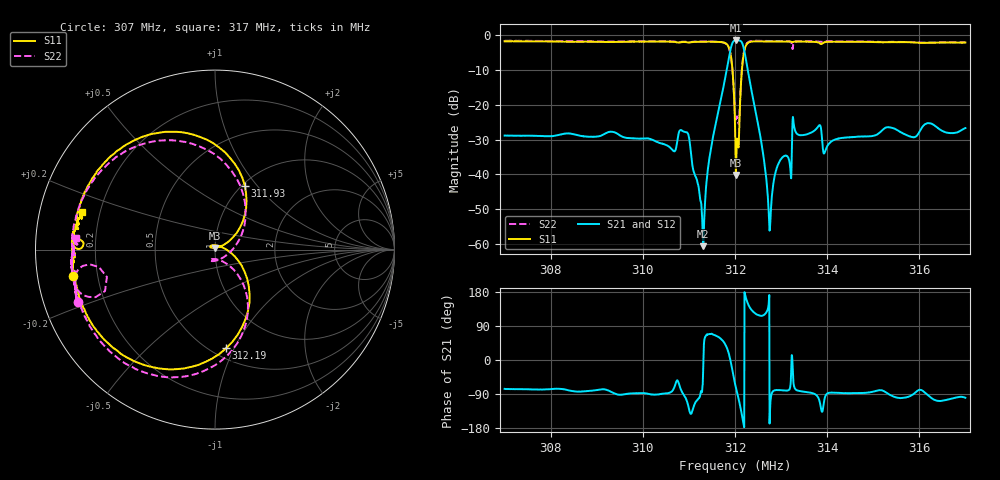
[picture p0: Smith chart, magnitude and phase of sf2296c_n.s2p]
# Hz S RI R 50
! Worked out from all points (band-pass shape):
!   1601 points, 307 MHz to 317 MHz, reference 50 ohm
!   highest |S21| = -1.65 dB at 312.02 MHz (marker M1); lowest = -60.5 dB at 311.31 MHz (marker M2)
!   |S21| within 3 dB of the highest: 311.8954 MHz to 312.2026 MHz (307.3 kHz wide, 0.0985 % of centre)
!   lowest |S11| = -40.2 dB at 312.02 MHz (marker M3), VSWR 1.02, Z = 50 + j0.982 ohm
!   |S11| at or under -10 dB: 311.9448 MHz to 312.1502 MHz (205.4 kHz wide, 0.0658 % of centre)
!   |S22| runs from -25.6 to -1.7 dB; largest |S21 - S12| = 0.0055
!   S11 on the Smith chart (normalised r, x): 307 MHz: 0.11, -0.09; 311.93 MHz: 1.03, +0.87; 312.19 MHz: 0.59, -0.93; 317 MHz: 0.13, +0.14
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3.07e8  -0.7909 -0.1476  0.00861 -0.035  0.00855 -0.035  -0.7659 -0.2904
3.086688e8  -0.7908 -0.055  0.00416 -0.0352  0.00429 -0.0353  -0.7791 -0.2019
3.103375e8  -0.7931 0.0632  -0.000358 -0.0287  -0.00029 -0.0287  -0.8003 -0.0887
3.109562e8  -0.7652 0.1464  -0.0126 -0.0381  -0.0126 -0.038  -0.7893 -0.00236
3.113125e8  -0.7595 0.2288  0.000936 -0.000107  0.000917 -0.000102  -0.7937 0.0814
3.114625e8  -0.7367 0.2943  0.0074 0.0189  0.00749 0.0189  -0.7828 0.152
3.117312e8  -0.572 0.5274  0.097 0.1213  0.0974 0.1214  -0.6558 0.415
3.1185e8  -0.2169 0.6564  0.3739 0.1614  0.3738 0.1612  -0.3119 0.607
3.119312e8  0.1663 0.3565  0.6822 -0.2426  0.6806 -0.2407  0.1427 0.3521
3.12e8  0.0463 0.025  0.3834 -0.7305  0.3826 -0.7289  0.0655 -0.0298
3.120188e8  0.000416 0.00982  0.2494 -0.7882  0.2478 -0.7881  0.0146 -0.0591
3.120625e8  -0.0173 0.0233  -0.0657 -0.8211  -0.0663 -0.82  -0.0257 -0.0563
3.121938e8  0.0613 -0.5502  -0.6184 -0.0685  -0.6178 -0.0679  0.0961 -0.56
3.123688e8  -0.6332 -0.483  -0.0947 0.1108  -0.095 0.1108  -0.5606 -0.5884
3.1275e8  -0.781 -0.1714  -0.00153 -0.000336  -0.00158 -0.000359  -0.7499 -0.3133
3.129375e8  -0.7905 -0.1089  0.0026 -0.0138  0.00259 -0.0139  -0.7702 -0.2519
3.131875e8  -0.7947 -0.0489  0.00348 -0.014  0.00357 -0.0141  -0.7824 -0.1633
3.132875e8  -0.793 -0.039  0.0146 -0.0445  0.0146 -0.0445  -0.7487 -0.2433
3.136688e8  -0.7903 0.0245  0.00195 -0.0402  0.00205 -0.0401  -0.7902 -0.1437
3.139562e8  -0.7816 0.0149  -0.0025 -0.0213  -0.0025 -0.0214  -0.7934 -0.1216
3.153375e8  -0.7688 0.1395  -0.000131 -0.0474  -0.000251 -0.0475  -0.7879 -0.0125
3.17e8  -0.7426 0.2108  -0.00773 -0.0455  -0.00787 -0.0455  -0.7725 0.0625
